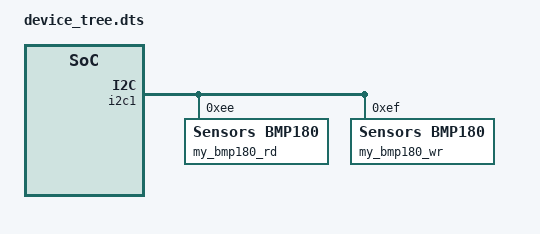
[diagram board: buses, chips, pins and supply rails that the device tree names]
/ {
    compatible = "brcm, ";
    fragment@0 {
        target = <&i2c1>;
        __overlay__ {
            #address-cells = <1>;
            #size-cells = <0>;

            my_bmp180_rd: my_bmp180@EE {
                compatible = "Sensors, bmp180";
                reg = <0xEE>;
                status = "okay";
            };
            my_bmp180_wr: my_bmp180@EF {
                compatible = "Sensors, bmp180";
                reg = <0xEF>;
                status = "okay";
            };
        };
    };
};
